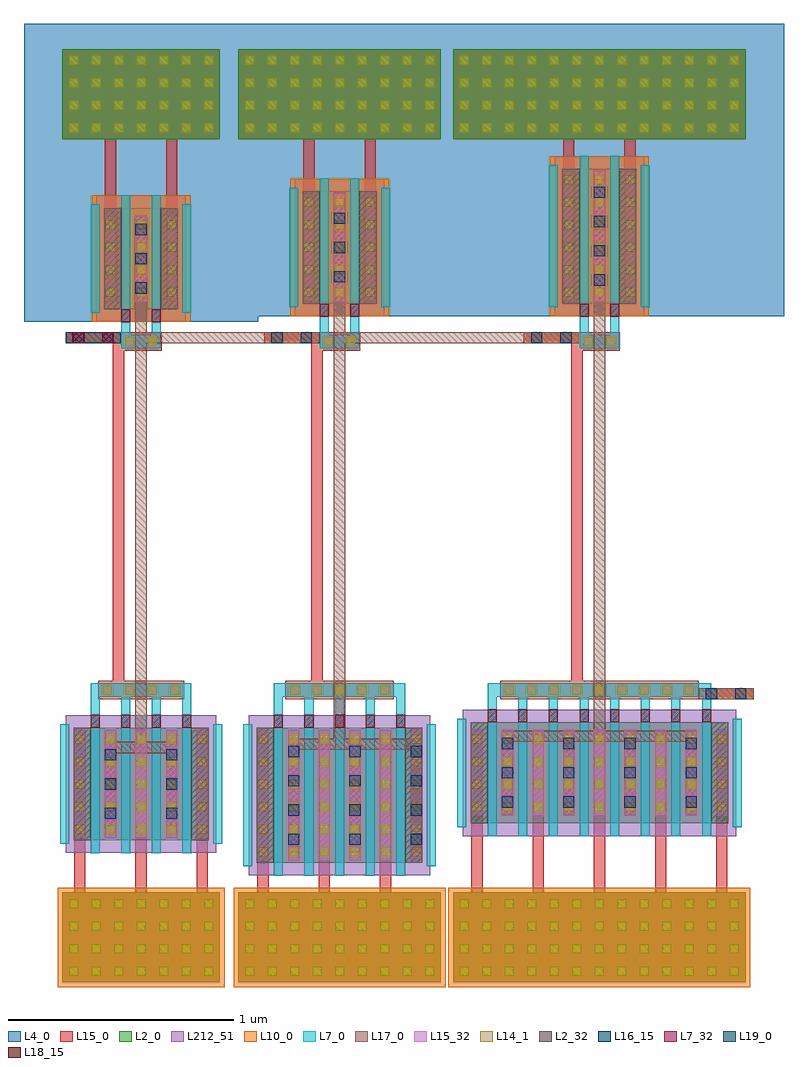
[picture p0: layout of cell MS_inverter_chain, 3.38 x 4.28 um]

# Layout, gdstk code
import gdstk
lib = gdstk.Library(unit=1e-6, precision=1e-09)
def R(c, l, rs):  # rectangles x0, y0, x1, y1
    for r in rs: c.add(gdstk.rectangle(r[:2], r[2:], *l))
def A(c, l, x, y, w, h, nx, ny, dx, dy):  # array of equal rectangles
    R(c, l, [(x+i*dx, y+j*dy, x+i*dx+w, y+j*dy+h) for i in range(nx) for j in range(ny)])
L2_0 = (2, 0)
L2_32 = (2, 32)
L4_0 = (4, 0)
L7_0 = (7, 0)
L7_32 = (7, 32)
L10_0 = (10, 0)
L14_1 = (14, 1)
L15_0 = (15, 0)
L15_32 = (15, 32)
L16_15 = (16, 15)
L17_0 = (17, 0)
L18_15 = (18, 15)
L19_0 = (19, 0)
L212_51 = (212, 51)

nmos_in_nmos_in_inv1_in_ = lib.new_cell('nmos_in_nmos_in_inv1_in_MS_inverter_chain')
R(nmos_in_nmos_in_inv1_in_, L2_0, [(-0.3,-0.25,0.3,0.25)])
R(nmos_in_nmos_in_inv1_in_, L2_32, [(-0.3,-0.25,-0.224,0.25), (0.224,-0.25,0.3,0.25)])
A(nmos_in_nmos_in_inv1_in_, L7_0, -0.224, -0.307, 0.04, 0.614, 4, 1, 0.136, 0)
R(nmos_in_nmos_in_inv1_in_, L7_0, [(-0.36,-0.266,-0.32,0.266), (0.32,-0.266,0.36,0.266)])
A(nmos_in_nmos_in_inv1_in_, L7_32, -0.224, 0.25, 0.04, 0.057, 4, 1, 0.136, 0)
A(nmos_in_nmos_in_inv1_in_, L14_1, -0.292, -0.22, 0.04, 0.04, 5, 5, 0.136, 0.1)
A(nmos_in_nmos_in_inv1_in_, L15_0, -0.297, -0.241, 0.05, 0.482, 5, 1, 0.136, 0)
A(nmos_in_nmos_in_inv1_in_, L15_32, -0.297, -0.241, 0.05, 0.482, 5, 1, 0.136, 0)
R(nmos_in_nmos_in_inv1_in_, L212_51, [(-0.335,-0.306,0.335,0.306)])

nmos_gate_via_in_nmos_in = lib.new_cell('nmos_gate_via_in_nmos_in_inv1_in_MS_inverter_chain')
R(nmos_gate_via_in_nmos_in, L7_0, [(-0.18,-0.03,0.18,0.03)])
A(nmos_gate_via_in_nmos_in, L14_1, -0.17, -0.02, 0.04, 0.04, 4, 1, 0.1, 0)
R(nmos_gate_via_in_nmos_in, L15_0, [(-0.191,-0.041,0.191,0.041)])

nmos_in_inv1_in_ms_inver = lib.new_cell('nmos_in_inv1_in_MS_inverter_chain')
nmos_in_inv1_in_ms_inver.add(gdstk.FlexPath([(-0.224,0.417),(0.224,0.417)], 0.06, ends="flush", simple_path=True, layer=7, datatype=0))  # L7_0
nmos_in_inv1_in_ms_inver.add(gdstk.FlexPath([(-0.204,0),(-0.204,0.417)], 0.04, ends="flush", simple_path=True, layer=7, datatype=0))  # L7_0
nmos_in_inv1_in_ms_inver.add(gdstk.FlexPath([(-0.068,0),(-0.068,0.417)], 0.04, ends="flush", simple_path=True, layer=7, datatype=0))  # L7_0
nmos_in_inv1_in_ms_inver.add(gdstk.FlexPath([(0.068,0),(0.068,0.417)], 0.04, ends="flush", simple_path=True, layer=7, datatype=0))  # L7_0
nmos_in_inv1_in_ms_inver.add(gdstk.FlexPath([(0.204,0),(0.204,0.417)], 0.04, ends="flush", simple_path=True, layer=7, datatype=0))  # L7_0
nmos_in_inv1_in_ms_inver.add(gdstk.Reference(nmos_in_nmos_in_inv1_in_, (0,0)))
nmos_in_inv1_in_ms_inver.add(gdstk.Reference(nmos_gate_via_in_nmos_in, (0,0.417)))

pmos_in_pmos_in_inv1_in_ = lib.new_cell('pmos_in_pmos_in_inv1_in_MS_inverter_chain')
R(pmos_in_pmos_in_inv1_in_, L2_0, [(-0.164,-0.225,0.164,0.225)])
R(pmos_in_pmos_in_inv1_in_, L2_32, [(-0.164,-0.225,-0.088,0.225), (0.088,-0.225,0.164,0.225)])
R(pmos_in_pmos_in_inv1_in_, L7_0, [(-0.088,-0.282,-0.048,0.282), (0.048,-0.282,0.088,0.282), (-0.224,-0.241,-0.184,0.241), (0.184,-0.241,0.224,0.241)])
R(pmos_in_pmos_in_inv1_in_, L7_32, [(-0.088,-0.282,-0.048,-0.225), (0.048,-0.282,0.088,-0.225)])
R(pmos_in_pmos_in_inv1_in_, L10_0, [(-0.22,-0.281,0.22,0.281)])
A(pmos_in_pmos_in_inv1_in_, L14_1, -0.156, -0.17, 0.04, 0.04, 3, 4, 0.136, 0.1)
A(pmos_in_pmos_in_inv1_in_, L15_0, -0.161, -0.191, 0.05, 0.382, 3, 1, 0.136, 0)
A(pmos_in_pmos_in_inv1_in_, L15_32, -0.161, -0.191, 0.05, 0.382, 3, 1, 0.136, 0)
R(pmos_in_pmos_in_inv1_in_, L212_51, [(-0.199,-0.281,0.199,0.281)])

pmos_gate_via_in_pmos_in = lib.new_cell('pmos_gate_via_in_pmos_in_inv1_in_MS_inverter_chain')
R(pmos_gate_via_in_pmos_in, L7_0, [(-0.08,-0.03,0.08,0.03)])
R(pmos_gate_via_in_pmos_in, L14_1, [(-0.07,-0.02,-0.03,0.02), (0.03,-0.02,0.07,0.02)])
R(pmos_gate_via_in_pmos_in, L15_0, [(-0.091,-0.041,0.091,0.041)])

pmos_in_inv1_in_ms_inver = lib.new_cell('pmos_in_inv1_in_MS_inverter_chain')
pmos_in_inv1_in_ms_inver.add(gdstk.FlexPath([(-0.088,-0.367),(0.088,-0.367)], 0.06, ends="flush", simple_path=True, layer=7, datatype=0))  # L7_0
pmos_in_inv1_in_ms_inver.add(gdstk.FlexPath([(-0.068,0),(-0.068,-0.367)], 0.04, ends="flush", simple_path=True, layer=7, datatype=0))  # L7_0
pmos_in_inv1_in_ms_inver.add(gdstk.FlexPath([(0.068,0),(0.068,-0.367)], 0.04, ends="flush", simple_path=True, layer=7, datatype=0))  # L7_0
pmos_in_inv1_in_ms_inver.add(gdstk.Reference(pmos_in_pmos_in_inv1_in_, (0,0)))
pmos_in_inv1_in_ms_inver.add(gdstk.Reference(pmos_gate_via_in_pmos_in, (0,-0.367)))

pmos_output_via_in_inv1_ = lib.new_cell('pmos_output_via_in_inv1_in_MS_inverter_chain')
R(pmos_output_via_in_inv1_, L15_0, [(-0.025,-0.187,0.025,0.187)])
A(pmos_output_via_in_inv1_, L16_15, -0.025, -0.155, 0.05, 0.05, 1, 3, 0, 0.13)
R(pmos_output_via_in_inv1_, L17_0, [(-0.025,-0.187,0.025,0.187)])

nmos_output_via_in_inv1_ = lib.new_cell('nmos_output_via_in_inv1_in_MS_inverter_chain')
R(nmos_output_via_in_inv1_, L15_0, [(-0.025,-0.187,0.025,0.187)])
A(nmos_output_via_in_inv1_, L16_15, -0.025, -0.155, 0.05, 0.05, 1, 3, 0, 0.13)
R(nmos_output_via_in_inv1_, L17_0, [(-0.025,-0.187,0.025,0.187)])

vss_in_inv1_in_ms_invert = lib.new_cell('vss_in_inv1_in_MS_inverter_chain')
R(vss_in_inv1_in_ms_invert, L2_0, [(-0.35,-0.2,0.35,0.2)])
R(vss_in_inv1_in_ms_invert, L10_0, [(-0.371,-0.221,0.371,0.221)])
A(vss_in_inv1_in_ms_invert, L14_1, -0.32, -0.17, 0.04, 0.04, 7, 4, 0.1, 0.1)
R(vss_in_inv1_in_ms_invert, L15_0, [(-0.35,-0.2,0.35,0.2)])

vdd_in_inv1_in_ms_invert = lib.new_cell('vdd_in_inv1_in_MS_inverter_chain')
R(vdd_in_inv1_in_ms_invert, L2_0, [(-0.35,-0.2,0.35,0.2)])
A(vdd_in_inv1_in_ms_invert, L14_1, -0.32, -0.17, 0.04, 0.04, 7, 4, 0.1, 0.1)
R(vdd_in_inv1_in_ms_invert, L15_0, [(-0.35,-0.2,0.35,0.2)])

inv1_in_ms_inverter_chai = lib.new_cell('inv1_in_MS_inverter_chain')
R(inv1_in_ms_inverter_chai, L4_0, [(-0.52,0.861,0.52,2.185)])
inv1_in_ms_inverter_chai.add(gdstk.FlexPath([(-0.025,0.98),(0.025,0.98)], 0.05, ends="flush", simple_path=True, layer=17, datatype=0))  # L17_0
inv1_in_ms_inverter_chai.add(gdstk.FlexPath([(-0.161,-1.03),(0.161,-1.03)], 0.05, ends="flush", simple_path=True, layer=17, datatype=0))  # L17_0
inv1_in_ms_inverter_chai.add(gdstk.FlexPath([(0,0.98),(0,-1.03)], 0.05, ends="flush", simple_path=True, layer=17, datatype=0))  # L17_0
inv1_in_ms_inverter_chai.add(gdstk.FlexPath([(-0.1,-0.816),(-0.1,0.816)], 0.05, ends="flush", simple_path=True, layer=15, datatype=0))  # L15_0
inv1_in_ms_inverter_chai.add(gdstk.FlexPath([(-0.272,-1.192),(-0.272,-1.873)], 0.05, ends="flush", simple_path=True, layer=15, datatype=0))  # L15_0
inv1_in_ms_inverter_chai.add(gdstk.FlexPath([(0,-1.192),(0,-1.873)], 0.05, ends="flush", simple_path=True, layer=15, datatype=0))  # L15_0
inv1_in_ms_inverter_chai.add(gdstk.FlexPath([(0.272,-1.192),(0.272,-1.873)], 0.05, ends="flush", simple_path=True, layer=15, datatype=0))  # L15_0
inv1_in_ms_inverter_chai.add(gdstk.FlexPath([(-0.136,1.142),(-0.136,1.873)], 0.05, ends="flush", simple_path=True, layer=15, datatype=0))  # L15_0
inv1_in_ms_inverter_chai.add(gdstk.FlexPath([(0.136,1.142),(0.136,1.873)], 0.05, ends="flush", simple_path=True, layer=15, datatype=0))  # L15_0
inv1_in_ms_inverter_chai.add(gdstk.Reference(nmos_in_inv1_in_ms_inver, (0,-1.192)))
inv1_in_ms_inverter_chai.add(gdstk.Reference(pmos_in_inv1_in_ms_inver, (0,1.142)))
inv1_in_ms_inverter_chai.add(gdstk.Reference(pmos_output_via_in_inv1_, (0,1.142)))
inv1_in_ms_inverter_chai.add(gdstk.Reference(nmos_output_via_in_inv1_, (-0.136,-1.192)))
inv1_in_ms_inverter_chai.add(gdstk.Reference(nmos_output_via_in_inv1_, (0.136,-1.192)))
inv1_in_ms_inverter_chai.add(gdstk.Reference(vss_in_inv1_in_ms_invert, (0,-1.873)))
inv1_in_ms_inverter_chai.add(gdstk.Reference(vdd_in_inv1_in_ms_invert, (0,1.873)))

nmos_in_nmos_in_inv2_in_ = lib.new_cell('nmos_in_nmos_in_inv2_in_MS_inverter_chain')
R(nmos_in_nmos_in_inv2_in_, L2_0, [(-0.368,-0.3,0.368,0.3)])
R(nmos_in_nmos_in_inv2_in_, L2_32, [(-0.368,-0.3,-0.292,0.3), (0.292,-0.3,0.368,0.3)])
A(nmos_in_nmos_in_inv2_in_, L7_0, -0.292, -0.357, 0.04, 0.714, 5, 1, 0.136, 0)
R(nmos_in_nmos_in_inv2_in_, L7_0, [(-0.428,-0.316,-0.388,0.316), (0.388,-0.316,0.428,0.316)])
A(nmos_in_nmos_in_inv2_in_, L7_32, -0.292, 0.3, 0.04, 0.057, 5, 1, 0.136, 0)
A(nmos_in_nmos_in_inv2_in_, L14_1, -0.36, -0.27, 0.04, 0.04, 6, 6, 0.136, 0.1)
A(nmos_in_nmos_in_inv2_in_, L15_0, -0.365, -0.291, 0.05, 0.582, 6, 1, 0.136, 0)
A(nmos_in_nmos_in_inv2_in_, L15_32, -0.365, -0.291, 0.05, 0.582, 6, 1, 0.136, 0)
R(nmos_in_nmos_in_inv2_in_, L212_51, [(-0.403,-0.356,0.403,0.356)])

c_nmos_gate_via_in_nmos_in = lib.new_cell('nmos_gate_via_in_nmos_in_inv2_in_MS_inverter_chain')
R(c_nmos_gate_via_in_nmos_in, L7_0, [(-0.23,-0.03,0.23,0.03)])
A(c_nmos_gate_via_in_nmos_in, L14_1, -0.22, -0.02, 0.04, 0.04, 5, 1, 0.1, 0)
R(c_nmos_gate_via_in_nmos_in, L15_0, [(-0.241,-0.041,0.241,0.041)])

nmos_in_inv2_in_ms_inver = lib.new_cell('nmos_in_inv2_in_MS_inverter_chain')
nmos_in_inv2_in_ms_inver.add(gdstk.FlexPath([(-0.292,0.467),(0.292,0.467)], 0.06, ends="flush", simple_path=True, layer=7, datatype=0))  # L7_0
nmos_in_inv2_in_ms_inver.add(gdstk.FlexPath([(-0.272,0),(-0.272,0.467)], 0.04, ends="flush", simple_path=True, layer=7, datatype=0))  # L7_0
nmos_in_inv2_in_ms_inver.add(gdstk.FlexPath([(-0.136,0),(-0.136,0.467)], 0.04, ends="flush", simple_path=True, layer=7, datatype=0))  # L7_0
nmos_in_inv2_in_ms_inver.add(gdstk.FlexPath([(0,0),(0,0.467)], 0.04, ends="flush", simple_path=True, layer=7, datatype=0))  # L7_0
nmos_in_inv2_in_ms_inver.add(gdstk.FlexPath([(0.136,0),(0.136,0.467)], 0.04, ends="flush", simple_path=True, layer=7, datatype=0))  # L7_0
nmos_in_inv2_in_ms_inver.add(gdstk.FlexPath([(0.272,0),(0.272,0.467)], 0.04, ends="flush", simple_path=True, layer=7, datatype=0))  # L7_0
nmos_in_inv2_in_ms_inver.add(gdstk.Reference(nmos_in_nmos_in_inv2_in_, (0,0)))
nmos_in_inv2_in_ms_inver.add(gdstk.Reference(c_nmos_gate_via_in_nmos_in, (0,0.467)))

pmos_in_pmos_in_inv2_in_ = lib.new_cell('pmos_in_pmos_in_inv2_in_MS_inverter_chain')
R(pmos_in_pmos_in_inv2_in_, L2_0, [(-0.164,-0.25,0.164,0.25)])
R(pmos_in_pmos_in_inv2_in_, L2_32, [(-0.164,-0.25,-0.088,0.25), (0.088,-0.25,0.164,0.25)])
R(pmos_in_pmos_in_inv2_in_, L7_0, [(-0.088,-0.307,-0.048,0.307), (0.048,-0.307,0.088,0.307), (-0.224,-0.266,-0.184,0.266), (0.184,-0.266,0.224,0.266)])
R(pmos_in_pmos_in_inv2_in_, L7_32, [(-0.088,-0.307,-0.048,-0.25), (0.048,-0.307,0.088,-0.25)])
R(pmos_in_pmos_in_inv2_in_, L10_0, [(-0.22,-0.306,0.22,0.306)])
A(pmos_in_pmos_in_inv2_in_, L14_1, -0.156, -0.22, 0.04, 0.04, 3, 5, 0.136, 0.1)
A(pmos_in_pmos_in_inv2_in_, L15_0, -0.161, -0.241, 0.05, 0.482, 3, 1, 0.136, 0)
A(pmos_in_pmos_in_inv2_in_, L15_32, -0.161, -0.241, 0.05, 0.482, 3, 1, 0.136, 0)
R(pmos_in_pmos_in_inv2_in_, L212_51, [(-0.199,-0.306,0.199,0.306)])

c_pmos_gate_via_in_pmos_in = lib.new_cell('pmos_gate_via_in_pmos_in_inv2_in_MS_inverter_chain')
R(c_pmos_gate_via_in_pmos_in, L7_0, [(-0.08,-0.03,0.08,0.03)])
R(c_pmos_gate_via_in_pmos_in, L14_1, [(-0.07,-0.02,-0.03,0.02), (0.03,-0.02,0.07,0.02)])
R(c_pmos_gate_via_in_pmos_in, L15_0, [(-0.091,-0.041,0.091,0.041)])

pmos_in_inv2_in_ms_inver = lib.new_cell('pmos_in_inv2_in_MS_inverter_chain')
pmos_in_inv2_in_ms_inver.add(gdstk.FlexPath([(-0.088,-0.417),(0.088,-0.417)], 0.06, ends="flush", simple_path=True, layer=7, datatype=0))  # L7_0
pmos_in_inv2_in_ms_inver.add(gdstk.FlexPath([(-0.068,0),(-0.068,-0.417)], 0.04, ends="flush", simple_path=True, layer=7, datatype=0))  # L7_0
pmos_in_inv2_in_ms_inver.add(gdstk.FlexPath([(0.068,0),(0.068,-0.417)], 0.04, ends="flush", simple_path=True, layer=7, datatype=0))  # L7_0
pmos_in_inv2_in_ms_inver.add(gdstk.Reference(pmos_in_pmos_in_inv2_in_, (0,0)))
pmos_in_inv2_in_ms_inver.add(gdstk.Reference(c_pmos_gate_via_in_pmos_in, (0,-0.417)))

pmos_output_via_in_inv2_ = lib.new_cell('pmos_output_via_in_inv2_in_MS_inverter_chain')
R(pmos_output_via_in_inv2_, L15_0, [(-0.025,-0.187,0.025,0.187)])
A(pmos_output_via_in_inv2_, L16_15, -0.025, -0.155, 0.05, 0.05, 1, 3, 0, 0.13)
R(pmos_output_via_in_inv2_, L17_0, [(-0.025,-0.187,0.025,0.187)])

nmos_output_via_in_inv2_ = lib.new_cell('nmos_output_via_in_inv2_in_MS_inverter_chain')
R(nmos_output_via_in_inv2_, L15_0, [(-0.025,-0.252,0.025,0.252)])
A(nmos_output_via_in_inv2_, L16_15, -0.025, -0.22, 0.05, 0.05, 1, 4, 0, 0.13)
R(nmos_output_via_in_inv2_, L17_0, [(-0.025,-0.252,0.025,0.252)])

vss_in_inv2_in_ms_invert = lib.new_cell('vss_in_inv2_in_MS_inverter_chain')
R(vss_in_inv2_in_ms_invert, L2_0, [(-0.45,-0.2,0.45,0.2)])
R(vss_in_inv2_in_ms_invert, L10_0, [(-0.471,-0.221,0.471,0.221)])
A(vss_in_inv2_in_ms_invert, L14_1, -0.42, -0.17, 0.04, 0.04, 9, 4, 0.1, 0.1)
R(vss_in_inv2_in_ms_invert, L15_0, [(-0.45,-0.2,0.45,0.2)])

vdd_in_inv2_in_ms_invert = lib.new_cell('vdd_in_inv2_in_MS_inverter_chain')
R(vdd_in_inv2_in_ms_invert, L2_0, [(-0.45,-0.2,0.45,0.2)])
A(vdd_in_inv2_in_ms_invert, L14_1, -0.42, -0.17, 0.04, 0.04, 9, 4, 0.1, 0.1)
R(vdd_in_inv2_in_ms_invert, L15_0, [(-0.45,-0.2,0.45,0.2)])

inv2_in_ms_inverter_chai = lib.new_cell('inv2_in_MS_inverter_chain')
R(inv2_in_ms_inverter_chai, L4_0, [(-0.62,0.886,0.62,2.185)])
inv2_in_ms_inverter_chai.add(gdstk.FlexPath([(-0.025,1.03),(0.025,1.03)], 0.05, ends="flush", simple_path=True, layer=17, datatype=0))  # L17_0
inv2_in_ms_inverter_chai.add(gdstk.FlexPath([(-0.229,-1.015),(0.365,-1.015)], 0.05, ends="flush", simple_path=True, layer=17, datatype=0))  # L17_0
inv2_in_ms_inverter_chai.add(gdstk.FlexPath([(0,1.03),(0,-1.015)], 0.05, ends="flush", simple_path=True, layer=17, datatype=0))  # L17_0
inv2_in_ms_inverter_chai.add(gdstk.FlexPath([(-0.1,-0.816),(-0.1,0.816)], 0.05, ends="flush", simple_path=True, layer=15, datatype=0))  # L15_0
inv2_in_ms_inverter_chai.add(gdstk.FlexPath([(-0.34,-1.242),(-0.34,-1.873)], 0.05, ends="flush", simple_path=True, layer=15, datatype=0))  # L15_0
inv2_in_ms_inverter_chai.add(gdstk.FlexPath([(-0.068,-1.242),(-0.068,-1.873)], 0.05, ends="flush", simple_path=True, layer=15, datatype=0))  # L15_0
inv2_in_ms_inverter_chai.add(gdstk.FlexPath([(0.204,-1.242),(0.204,-1.873)], 0.05, ends="flush", simple_path=True, layer=15, datatype=0))  # L15_0
inv2_in_ms_inverter_chai.add(gdstk.FlexPath([(-0.136,1.192),(-0.136,1.873)], 0.05, ends="flush", simple_path=True, layer=15, datatype=0))  # L15_0
inv2_in_ms_inverter_chai.add(gdstk.FlexPath([(0.136,1.192),(0.136,1.873)], 0.05, ends="flush", simple_path=True, layer=15, datatype=0))  # L15_0
inv2_in_ms_inverter_chai.add(gdstk.Reference(nmos_in_inv2_in_ms_inver, (0,-1.242)))
inv2_in_ms_inverter_chai.add(gdstk.Reference(pmos_in_inv2_in_ms_inver, (0,1.192)))
inv2_in_ms_inverter_chai.add(gdstk.Reference(pmos_output_via_in_inv2_, (0,1.192)))
inv2_in_ms_inverter_chai.add(gdstk.Reference(nmos_output_via_in_inv2_, (-0.204,-1.242)))
inv2_in_ms_inverter_chai.add(gdstk.Reference(nmos_output_via_in_inv2_, (0.068,-1.242)))
inv2_in_ms_inverter_chai.add(gdstk.Reference(nmos_output_via_in_inv2_, (0.34,-1.242)))
inv2_in_ms_inverter_chai.add(gdstk.Reference(vss_in_inv2_in_ms_invert, (0,-1.873)))
inv2_in_ms_inverter_chai.add(gdstk.Reference(vdd_in_inv2_in_ms_invert, (0,1.873)))

nmos_in_nmos_in_inv3_in_ = lib.new_cell('nmos_in_nmos_in_inv3_in_MS_inverter_chain')
R(nmos_in_nmos_in_inv3_in_, L2_0, [(-0.572,-0.225,0.572,0.225)])
R(nmos_in_nmos_in_inv3_in_, L2_32, [(-0.572,-0.225,-0.496,0.225), (0.496,-0.225,0.572,0.225)])
A(nmos_in_nmos_in_inv3_in_, L7_0, -0.496, -0.282, 0.04, 0.564, 8, 1, 0.136, 0)
R(nmos_in_nmos_in_inv3_in_, L7_0, [(-0.632,-0.241,-0.592,0.241), (0.592,-0.241,0.632,0.241)])
A(nmos_in_nmos_in_inv3_in_, L7_32, -0.496, 0.225, 0.04, 0.057, 8, 1, 0.136, 0)
A(nmos_in_nmos_in_inv3_in_, L14_1, -0.564, -0.17, 0.04, 0.04, 9, 4, 0.136, 0.1)
A(nmos_in_nmos_in_inv3_in_, L15_0, -0.569, -0.191, 0.05, 0.382, 9, 1, 0.136, 0)
A(nmos_in_nmos_in_inv3_in_, L15_32, -0.569, -0.191, 0.05, 0.382, 9, 1, 0.136, 0)
R(nmos_in_nmos_in_inv3_in_, L212_51, [(-0.607,-0.281,0.607,0.281)])

c_nmos_gate_via_in_nmos_in_ = lib.new_cell('nmos_gate_via_in_nmos_in_inv3_in_MS_inverter_chain')
R(c_nmos_gate_via_in_nmos_in_, L7_0, [(-0.43,-0.03,0.43,0.03)])
A(c_nmos_gate_via_in_nmos_in_, L14_1, -0.42, -0.02, 0.04, 0.04, 9, 1, 0.1, 0)
R(c_nmos_gate_via_in_nmos_in_, L15_0, [(-0.441,-0.041,0.441,0.041)])

nmos_in_inv3_in_ms_inver = lib.new_cell('nmos_in_inv3_in_MS_inverter_chain')
nmos_in_inv3_in_ms_inver.add(gdstk.FlexPath([(-0.496,0.367),(0.496,0.367)], 0.06, ends="flush", simple_path=True, layer=7, datatype=0))  # L7_0
nmos_in_inv3_in_ms_inver.add(gdstk.FlexPath([(-0.476,0),(-0.476,0.367)], 0.04, ends="flush", simple_path=True, layer=7, datatype=0))  # L7_0
nmos_in_inv3_in_ms_inver.add(gdstk.FlexPath([(-0.34,0),(-0.34,0.367)], 0.04, ends="flush", simple_path=True, layer=7, datatype=0))  # L7_0
nmos_in_inv3_in_ms_inver.add(gdstk.FlexPath([(-0.204,0),(-0.204,0.367)], 0.04, ends="flush", simple_path=True, layer=7, datatype=0))  # L7_0
nmos_in_inv3_in_ms_inver.add(gdstk.FlexPath([(-0.068,0),(-0.068,0.367)], 0.04, ends="flush", simple_path=True, layer=7, datatype=0))  # L7_0
nmos_in_inv3_in_ms_inver.add(gdstk.FlexPath([(0.068,0),(0.068,0.367)], 0.04, ends="flush", simple_path=True, layer=7, datatype=0))  # L7_0
nmos_in_inv3_in_ms_inver.add(gdstk.FlexPath([(0.204,0),(0.204,0.367)], 0.04, ends="flush", simple_path=True, layer=7, datatype=0))  # L7_0
nmos_in_inv3_in_ms_inver.add(gdstk.FlexPath([(0.34,0),(0.34,0.367)], 0.04, ends="flush", simple_path=True, layer=7, datatype=0))  # L7_0
nmos_in_inv3_in_ms_inver.add(gdstk.FlexPath([(0.476,0),(0.476,0.367)], 0.04, ends="flush", simple_path=True, layer=7, datatype=0))  # L7_0
nmos_in_inv3_in_ms_inver.add(gdstk.Reference(nmos_in_nmos_in_inv3_in_, (0,0)))
nmos_in_inv3_in_ms_inver.add(gdstk.Reference(c_nmos_gate_via_in_nmos_in_, (0,0.367)))

pmos_in_pmos_in_inv3_in_ = lib.new_cell('pmos_in_pmos_in_inv3_in_MS_inverter_chain')
R(pmos_in_pmos_in_inv3_in_, L2_0, [(-0.164,-0.3,0.164,0.3)])
R(pmos_in_pmos_in_inv3_in_, L2_32, [(-0.164,-0.3,-0.088,0.3), (0.088,-0.3,0.164,0.3)])
R(pmos_in_pmos_in_inv3_in_, L7_0, [(-0.088,-0.357,-0.048,0.357), (0.048,-0.357,0.088,0.357), (-0.224,-0.316,-0.184,0.316), (0.184,-0.316,0.224,0.316)])
R(pmos_in_pmos_in_inv3_in_, L7_32, [(-0.088,-0.357,-0.048,-0.3), (0.048,-0.357,0.088,-0.3)])
R(pmos_in_pmos_in_inv3_in_, L10_0, [(-0.22,-0.356,0.22,0.356)])
A(pmos_in_pmos_in_inv3_in_, L14_1, -0.156, -0.27, 0.04, 0.04, 3, 6, 0.136, 0.1)
A(pmos_in_pmos_in_inv3_in_, L15_0, -0.161, -0.291, 0.05, 0.582, 3, 1, 0.136, 0)
A(pmos_in_pmos_in_inv3_in_, L15_32, -0.161, -0.291, 0.05, 0.582, 3, 1, 0.136, 0)
R(pmos_in_pmos_in_inv3_in_, L212_51, [(-0.199,-0.356,0.199,0.356)])

c_pmos_gate_via_in_pmos_in_ = lib.new_cell('pmos_gate_via_in_pmos_in_inv3_in_MS_inverter_chain')
R(c_pmos_gate_via_in_pmos_in_, L7_0, [(-0.08,-0.03,0.08,0.03)])
R(c_pmos_gate_via_in_pmos_in_, L14_1, [(-0.07,-0.02,-0.03,0.02), (0.03,-0.02,0.07,0.02)])
R(c_pmos_gate_via_in_pmos_in_, L15_0, [(-0.091,-0.041,0.091,0.041)])

pmos_in_inv3_in_ms_inver = lib.new_cell('pmos_in_inv3_in_MS_inverter_chain')
pmos_in_inv3_in_ms_inver.add(gdstk.FlexPath([(-0.088,-0.467),(0.088,-0.467)], 0.06, ends="flush", simple_path=True, layer=7, datatype=0))  # L7_0
pmos_in_inv3_in_ms_inver.add(gdstk.FlexPath([(-0.068,0),(-0.068,-0.467)], 0.04, ends="flush", simple_path=True, layer=7, datatype=0))  # L7_0
pmos_in_inv3_in_ms_inver.add(gdstk.FlexPath([(0.068,0),(0.068,-0.467)], 0.04, ends="flush", simple_path=True, layer=7, datatype=0))  # L7_0
pmos_in_inv3_in_ms_inver.add(gdstk.Reference(pmos_in_pmos_in_inv3_in_, (0,0)))
pmos_in_inv3_in_ms_inver.add(gdstk.Reference(c_pmos_gate_via_in_pmos_in_, (0,-0.467)))

pmos_output_via_in_inv3_ = lib.new_cell('pmos_output_via_in_inv3_in_MS_inverter_chain')
R(pmos_output_via_in_inv3_, L15_0, [(-0.025,-0.252,0.025,0.252)])
A(pmos_output_via_in_inv3_, L16_15, -0.025, -0.22, 0.05, 0.05, 1, 4, 0, 0.13)
R(pmos_output_via_in_inv3_, L17_0, [(-0.025,-0.252,0.025,0.252)])

nmos_output_via_in_inv3_ = lib.new_cell('nmos_output_via_in_inv3_in_MS_inverter_chain')
R(nmos_output_via_in_inv3_, L15_0, [(-0.025,-0.187,0.025,0.187)])
A(nmos_output_via_in_inv3_, L16_15, -0.025, -0.155, 0.05, 0.05, 1, 3, 0, 0.13)
R(nmos_output_via_in_inv3_, L17_0, [(-0.025,-0.187,0.025,0.187)])

vss_in_inv3_in_ms_invert = lib.new_cell('vss_in_inv3_in_MS_inverter_chain')
R(vss_in_inv3_in_ms_invert, L2_0, [(-0.65,-0.2,0.65,0.2)])
R(vss_in_inv3_in_ms_invert, L10_0, [(-0.671,-0.221,0.671,0.221)])
A(vss_in_inv3_in_ms_invert, L14_1, -0.62, -0.17, 0.04, 0.04, 13, 4, 0.1, 0.1)
R(vss_in_inv3_in_ms_invert, L15_0, [(-0.65,-0.2,0.65,0.2)])

vdd_in_inv3_in_ms_invert = lib.new_cell('vdd_in_inv3_in_MS_inverter_chain')
R(vdd_in_inv3_in_ms_invert, L2_0, [(-0.65,-0.2,0.65,0.2)])
A(vdd_in_inv3_in_ms_invert, L14_1, -0.62, -0.17, 0.04, 0.04, 13, 4, 0.1, 0.1)
R(vdd_in_inv3_in_ms_invert, L15_0, [(-0.65,-0.2,0.65,0.2)])

inv3_in_ms_inverter_chai = lib.new_cell('inv3_in_MS_inverter_chain')
R(inv3_in_ms_inverter_chai, L4_0, [(-0.82,0.886,0.82,2.185)])
inv3_in_ms_inverter_chai.add(gdstk.FlexPath([(-0.025,1.015),(0.025,1.015)], 0.05, ends="flush", simple_path=True, layer=17, datatype=0))  # L17_0
inv3_in_ms_inverter_chai.add(gdstk.FlexPath([(-0.433,-0.98),(0.433,-0.98)], 0.05, ends="flush", simple_path=True, layer=17, datatype=0))  # L17_0
inv3_in_ms_inverter_chai.add(gdstk.FlexPath([(0,1.015),(0,-0.98)], 0.05, ends="flush", simple_path=True, layer=17, datatype=0))  # L17_0
inv3_in_ms_inverter_chai.add(gdstk.FlexPath([(-0.1,-0.816),(-0.1,0.816)], 0.05, ends="flush", simple_path=True, layer=15, datatype=0))  # L15_0
inv3_in_ms_inverter_chai.add(gdstk.FlexPath([(-0.544,-1.142),(-0.544,-1.873)], 0.05, ends="flush", simple_path=True, layer=15, datatype=0))  # L15_0
inv3_in_ms_inverter_chai.add(gdstk.FlexPath([(-0.272,-1.142),(-0.272,-1.873)], 0.05, ends="flush", simple_path=True, layer=15, datatype=0))  # L15_0
inv3_in_ms_inverter_chai.add(gdstk.FlexPath([(0,-1.142),(0,-1.873)], 0.05, ends="flush", simple_path=True, layer=15, datatype=0))  # L15_0
inv3_in_ms_inverter_chai.add(gdstk.FlexPath([(0.272,-1.142),(0.272,-1.873)], 0.05, ends="flush", simple_path=True, layer=15, datatype=0))  # L15_0
inv3_in_ms_inverter_chai.add(gdstk.FlexPath([(0.544,-1.142),(0.544,-1.873)], 0.05, ends="flush", simple_path=True, layer=15, datatype=0))  # L15_0
inv3_in_ms_inverter_chai.add(gdstk.FlexPath([(-0.136,1.242),(-0.136,1.873)], 0.05, ends="flush", simple_path=True, layer=15, datatype=0))  # L15_0
inv3_in_ms_inverter_chai.add(gdstk.FlexPath([(0.136,1.242),(0.136,1.873)], 0.05, ends="flush", simple_path=True, layer=15, datatype=0))  # L15_0
inv3_in_ms_inverter_chai.add(gdstk.Reference(nmos_in_inv3_in_ms_inver, (0,-1.142)))
inv3_in_ms_inverter_chai.add(gdstk.Reference(pmos_in_inv3_in_ms_inver, (0,1.242)))
inv3_in_ms_inverter_chai.add(gdstk.Reference(pmos_output_via_in_inv3_, (0,1.242)))
inv3_in_ms_inverter_chai.add(gdstk.Reference(nmos_output_via_in_inv3_, (-0.408,-1.142)))
inv3_in_ms_inverter_chai.add(gdstk.Reference(nmos_output_via_in_inv3_, (-0.136,-1.142)))
inv3_in_ms_inverter_chai.add(gdstk.Reference(nmos_output_via_in_inv3_, (0.136,-1.142)))
inv3_in_ms_inverter_chai.add(gdstk.Reference(nmos_output_via_in_inv3_, (0.408,-1.142)))
inv3_in_ms_inverter_chai.add(gdstk.Reference(vss_in_inv3_in_ms_invert, (0,-1.873)))
inv3_in_ms_inverter_chai.add(gdstk.Reference(vdd_in_inv3_in_ms_invert, (0,1.873)))

via_for_moscap_coarse_in = lib.new_cell('via_for_moscap_coarse_in_MS_inverter_chain')
R(via_for_moscap_coarse_in, L17_0, [(-0.122,-0.025,0.122,0.025)])
R(via_for_moscap_coarse_in, L18_15, [(-0.09,-0.025,-0.04,0.025), (0.04,-0.025,0.09,0.025)])
R(via_for_moscap_coarse_in, L19_0, [(-0.122,-0.025,0.122,0.025)])

via_12_array_in_ms_inver = lib.new_cell('via_12_array_in_MS_inverter_chain')
R(via_12_array_in_ms_inver, L15_0, [(-0.122,-0.025,0.122,0.025)])
R(via_12_array_in_ms_inver, L16_15, [(-0.09,-0.025,-0.04,0.025), (0.04,-0.025,0.09,0.025)])
R(via_12_array_in_ms_inver, L17_0, [(-0.122,-0.025,0.122,0.025)])

ms_inverter_chain = lib.new_cell('MS_inverter_chain')
ms_inverter_chain.add(gdstk.FlexPath([(-1.06,1.142),(-1.06,0.791),(-0.391,0.791)], 0.05, ends="flush", simple_path=True, layer=17, datatype=0))  # L17_0
ms_inverter_chain.add(gdstk.FlexPath([(-0.178,1.192),(-0.178,0.791),(0.763,0.791)], 0.05, ends="flush", simple_path=True, layer=17, datatype=0))  # L17_0
ms_inverter_chain.add(gdstk.Reference(inv1_in_ms_inverter_chai, (-1.06,0)))
ms_inverter_chain.add(gdstk.Reference(inv2_in_ms_inverter_chai, (-0.178,0)))
ms_inverter_chain.add(gdstk.Reference(inv3_in_ms_inverter_chai, (0.976,0)))
ms_inverter_chain.add(gdstk.Reference(via_for_moscap_coarse_in, (-1.273,0.791)))
ms_inverter_chain.add(gdstk.Reference(via_12_array_in_ms_inver, (-1.273,0.791)))
ms_inverter_chain.add(gdstk.Reference(via_12_array_in_ms_inver, (-0.391,0.791)))
ms_inverter_chain.add(gdstk.Reference(via_12_array_in_ms_inver, (0.763,0.791)))
ms_inverter_chain.add(gdstk.Reference(via_12_array_in_ms_inver, (1.539,-0.791)))

lib.write_gds('MS_inverter_chain.gds')
